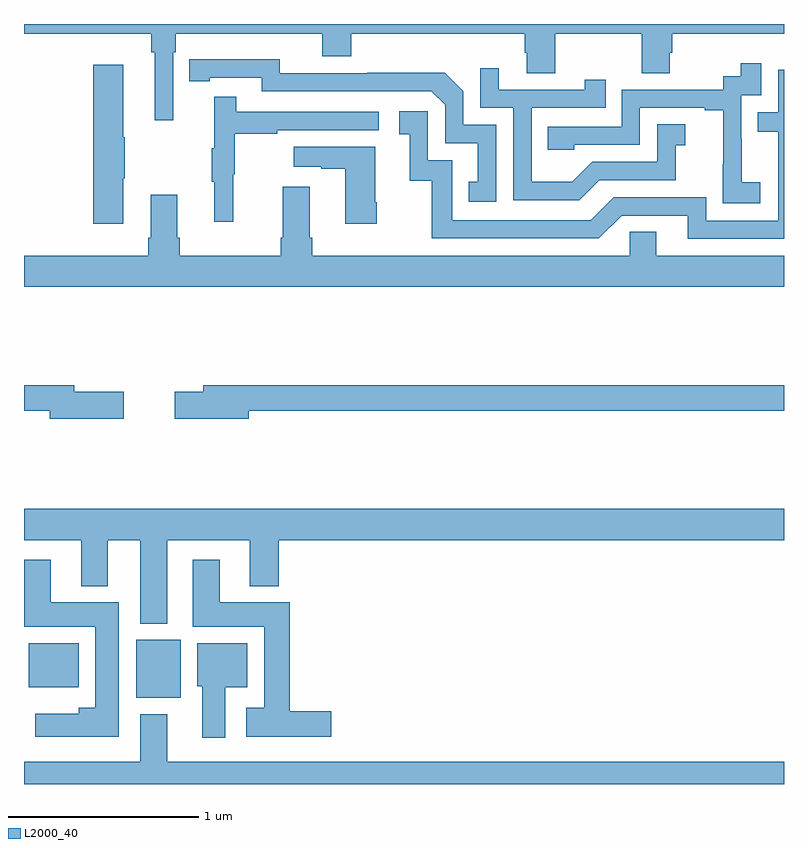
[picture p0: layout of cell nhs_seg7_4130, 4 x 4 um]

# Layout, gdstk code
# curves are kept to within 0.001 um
import gdstk
lib = gdstk.Library(unit=1e-6, precision=1e-09)
def R(c, l, rs):  # rectangles x0, y0, x1, y1
    for r in rs: c.add(gdstk.rectangle(r[:2], r[2:], *l))
def P(c, l, *ps):  # polygons
    for p in ps: c.add(gdstk.Polygon(p, *l))
L2000_40 = (2000, 40)

nhs_seg7_4130 = lib.new_cell('nhs_seg7_4130')
R(nhs_seg7_4130, L2000_40, [(373.592,998.453,373.825,998.758), (373.025,998.51,373.288,998.74)])
P(nhs_seg7_4130, L2000_40, [(373.785,1001.852),(373.799,1001.852),(373.799,1001.948),(374.57,1001.948),(374.57,1001.831),(374.723,1001.831),(374.723,1001.948),(375.635,1001.948),(375.635,1001.85),(375.647,1001.85),(375.647,1001.74),(375.795,1001.74),(375.795,1001.948),(376.252,1001.948),(376.252,1001.74),(376.399,1001.74),(376.399,1001.85),(376.412,1001.85),(376.412,1001.948),(377,1001.948),(377,1002),(373,1002),(373,1001.948),(373.669,1001.948),(373.669,1001.852),(373.688,1001.852),(373.688,1001.493),(373.785,1001.493)],
  [(375.486,1001.469),(375.312,1001.469),(375.312,1001.646),(375.214,1001.744),(374.806,1001.744),(374.806,1001.742),(374.346,1001.742),(374.346,1001.815),(373.87,1001.814),(373.87,1001.698),(373.978,1001.698),(373.978,1001.718),(374.25,1001.718),(374.25,1001.646),(375.144,1001.646),(375.216,1001.574),(375.216,1001.373),(375.389,1001.373),(375.389,1001.169),(375.34,1001.169),(375.34,1001.064),(375.486,1001.064)],
  [(376.876,1001.167),(376.778,1001.167),(376.778,1001.396),(376.776,1001.396),(376.776,1001.625),(376.881,1001.625),(376.881,1001.794),(376.773,1001.794),(376.773,1001.724),(376.68,1001.724),(376.68,1001.655),(376.146,1001.655),(376.146,1001.46),(375.757,1001.46),(375.757,1001.337),(375.897,1001.337),(375.897,1001.364),(376.242,1001.364),(376.242,1001.559),(376.583,1001.559),(376.583,1001.547),(376.679,1001.547),(376.679,1001.263),(376.678,1001.263),(376.678,1001.057),(376.876,1001.057)],
  [(373.522,1001.188),(373.53,1001.188),(373.53,1001.405),(373.522,1001.405),(373.522,1001.785),(373.364,1001.785),(373.364,1000.95),(373.522,1000.95)],
  [(376.027,1001.178),(376.431,1001.178),(376.431,1001.363),(376.48,1001.363),(376.48,1001.473),(376.332,1001.473),(376.332,1001.274),(375.99,1001.274),(375.886,1001.17),(375.672,1001.17),(375.672,1001.559),(376.061,1001.559),(376.061,1001.707),(375.95,1001.707),(375.95,1001.655),(375.499,1001.655),(375.499,1001.767),(375.402,1001.767),(375.402,1001.559),(375.576,1001.559),(375.576,1001.073),(375.922,1001.073)],
  [(377,1001.76),(376.971,1001.76),(376.971,1001.535),(376.861,1001.535),(376.861,1001.434),(376.971,1001.434),(376.971,1000.965),(376.59,1000.965),(376.59,1001.088),(376.104,1001.088),(375.984,1000.968),(375.255,1000.968),(375.255,1001.283),(375.126,1001.283),(375.126,1001.542),(374.976,1001.542),(374.976,1001.421),(375.029,1001.421),(375.029,1001.175),(375.147,1001.175),(375.147,1000.872),(376.026,1000.872),(376.146,1000.992),(376.493,1000.992),(376.493,1000.869),(377,1000.869)],
  [(374.102,1001.208),(374.11,1001.208),(374.11,1001.422),(374.333,1001.422),(374.333,1001.442),(374.866,1001.442),(374.866,1001.538),(374.117,1001.538),(374.117,1001.617),(374,1001.617),(374,1001.345),(373.989,1001.345),(373.989,1001.171),(374,1001.171),(374,1000.959),(374.102,1000.959)],
  [(374.856,1001.062),(374.848,1001.062),(374.848,1001.353),(374.421,1001.353),(374.421,1001.249),(374.564,1001.249),(374.564,1001.239),(374.69,1001.239),(374.69,1000.95),(374.856,1000.95)],
  [(377,1000.78),(376.327,1000.78),(376.327,1000.907),(376.188,1000.907),(376.188,1000.78),(374.516,1000.78),(374.516,1000.876),(374.503,1000.876),(374.503,1001.143),(374.363,1001.143),(374.363,1000.876),(374.351,1000.876),(374.351,1000.78),(373.82,1000.78),(373.82,1000.876),(373.807,1000.876),(373.807,1001.101),(373.667,1001.101),(373.667,1000.876),(373.655,1000.876),(373.655,1000.78),(373,1000.78),(373,1000.616),(377,1000.616)],
  [(374.182,999.964),(377,999.964),(377,1000.1),(373.943,1000.1),(373.943,1000.064),(373.794,1000.064),(373.794,999.922),(374.182,999.922)],
  [(373.525,1000.064),(373.264,1000.064),(373.264,1000.1),(373,1000.1),(373,999.964),(373.136,999.964),(373.136,999.922),(373.525,999.922)],
  [(373.753,999.284),(374.189,999.284),(374.189,999.041),(374.342,999.041),(374.342,999.284),(377,999.284),(377,999.448),(373,999.448),(373,999.284),(373.301,999.284),(373.301,999.041),(373.441,999.041),(373.441,999.284),(373.613,999.284),(373.613,998.843),(373.753,998.843)],
  [(374.617,998.384),(374.399,998.384),(374.399,998.956),(374.029,998.956),(374.029,999.181),(373.889,999.181),(373.889,998.828),(374.264,998.828),(374.264,998.401),(374.169,998.401),(374.169,998.249),(374.617,998.249)],
  [(373.498,998.956),(373.141,998.956),(373.141,999.181),(373.001,999.181),(373.001,998.828),(373.376,998.828),(373.376,998.401),(373.289,998.401),(373.289,998.371),(373.059,998.371),(373.059,998.249),(373.498,998.249)],
  [(374.059,998.51),(374.176,998.51),(374.176,998.74),(373.913,998.74),(373.913,998.514),(373.937,998.514),(373.937,998.244),(374.059,998.244)],
  [(377,998.116),(373.753,998.116),(373.753,998.368),(373.613,998.368),(373.613,998.116),(373,998.116),(373,998),(377,998)])

lib.write_gds('nhs_seg7_4130.gds')
